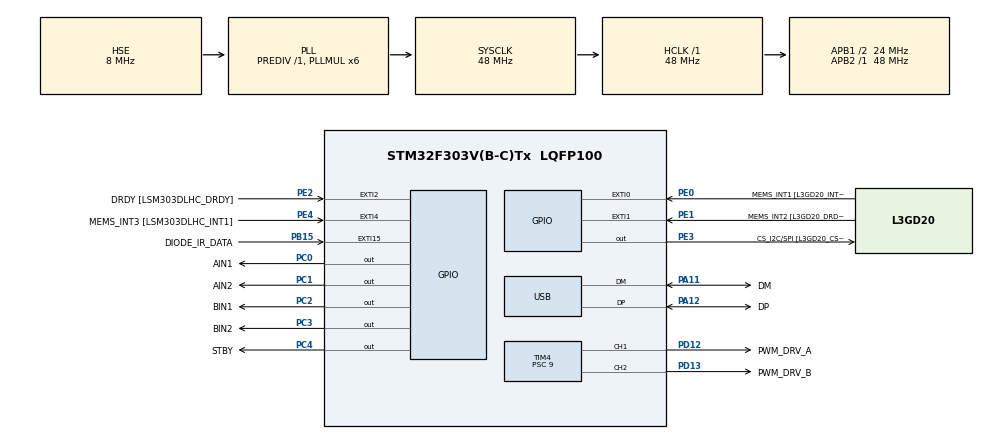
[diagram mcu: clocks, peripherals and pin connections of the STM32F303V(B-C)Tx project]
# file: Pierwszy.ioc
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Mcu.Family=STM32F3
Mcu.Name=STM32F303V(B-C)Tx
Mcu.Package=LQFP100
NVIC.EXTI15_10_IRQn=true\:0\:0\:false\:false\:true\:true\:true
NVIC.PriorityGroup=NVIC_PRIORITYGROUP_0
NVIC.TIM6_DAC_IRQn=true\:0\:0\:false\:false\:true\:true\:true
PA11.GPIO_Label=DM
PA11.Mode=Device
PA11.Signal=USB_DM
PA12.GPIO_Label=DP
PA12.Mode=Device
PA12.Signal=USB_DP
PA13.GPIO_Label=SWDIO
PA13.Mode=Serial_Wire
PA13.Signal=SYS_JTMS-SWDIO
PA14.GPIO_Label=SWCLK
PA14.Mode=Serial_Wire
PA14.Signal=SYS_JTCK-SWCLK
PB15.GPIO_Label=DIODE_IR_DATA
PB15.GPIO_ModeDefaultEXTI=GPIO_MODE_IT_RISING
PB15.Signal=GPXTI15
PC0.GPIO_Label=AIN1
PC0.Signal=GPIO_Output
PC1.GPIO_Label=AIN2
PC1.Signal=GPIO_Output
PC2.GPIO_Label=BIN1
PC2.Signal=GPIO_Output
PC3.GPIO_Label=BIN2
PC3.Signal=GPIO_Output
PC4.GPIO_Label=STBY
PC4.Signal=GPIO_Output
PD12.GPIO_Label=PWM_DRV_A
PD12.Signal=S_TIM4_CH1
PD13.GPIO_Label=PWM_DRV_B
PD13.Signal=S_TIM4_CH2
PE0.GPIO_Label=MEMS_INT1 [L3GD20_INT1]
PE0.GPIO_ModeDefaultEXTI=GPIO_MODE_EVT_RISING
PE0.Signal=GPXTI0
PE1.GPIO_Label=MEMS_INT2 [L3GD20_DRDY/INT2]
PE1.GPIO_ModeDefaultEXTI=GPIO_MODE_EVT_RISING
PE1.Signal=GPXTI1
PE2.GPIO_Label=DRDY [LSM303DLHC_DRDY]
PE2.GPIO_ModeDefaultEXTI=GPIO_MODE_EVT_RISING
PE2.Signal=GPXTI2
PE3.GPIO_Label=CS_I2C/SPI [L3GD20_CS_I2C/SPI]
PE3.Signal=GPIO_Output
PE4.GPIO_Label=MEMS_INT3 [LSM303DLHC_INT1]
PE4.GPIO_ModeDefaultEXTI=GPIO_MODE_EVT_RISING
PE4.Signal=GPXTI4
PF0-OSC_IN.GPIO_Label=OSC_IN
PF0-OSC_IN.Mode=HSE-External-Clock-Source
PF0-OSC_IN.Signal=RCC_OSC_IN
ProjectManager.HeapSize=0x200
ProjectManager.StackSize=0x400
ProjectManager.TargetToolchain=MDK-ARM V5.27
RCC.AHBFreq_Value=48000000
RCC.APB1CLKDivider=RCC_HCLK_DIV2
RCC.APB1Freq_Value=24000000
RCC.APB1TimFreq_Value=48000000
RCC.APB2Freq_Value=48000000
RCC.APB2TimFreq_Value=48000000
RCC.CortexFreq_Value=48000000
RCC.HCLKFreq_Value=48000000
RCC.HSE_VALUE=8000000
RCC.HSI_VALUE=8000000
RCC.LSE_VALUE=32768
RCC.PLLMUL=RCC_PLL_MUL6
RCC.SYSCLKFreq_VALUE=48000000
RCC.SYSCLKSourceVirtual=RCC_SYSCLKSOURCE_PLLCLK
RCC.USBFreq_Value=48000000
SH.S_TIM4_CH1.0=TIM4_CH1,PWM Generation1 CH1
SH.S_TIM4_CH2.0=TIM4_CH2,PWM Generation2 CH2
TIM4.Channel-PWM\ Generation1\ CH1=TIM_CHANNEL_1
TIM4.Channel-PWM\ Generation2\ CH2=TIM_CHANNEL_2
TIM4.ClockDivision=TIM_CLOCKDIVISION_DIV1
TIM4.OCFastMode_PWM-PWM\ Generation1\ CH1=TIM_OCFAST_ENABLE
TIM4.OCFastMode_PWM-PWM\ Generation2\ CH2=TIM_OCFAST_ENABLE
TIM4.Period=47999
TIM4.Prescaler=9
TIM4.Pulse-PWM\ Generation1\ CH1=24000
TIM4.Pulse-PWM\ Generation2\ CH2=36000
TIM6.AutoReloadPreload=TIM_AUTORELOAD_PRELOAD_DISABLE
TIM6.Period=42671
TIM6.Prescaler=1
VP_TIM4_VS_ClockSourceINT.Mode=Internal
VP_TIM6_VS_ClockSourceINT.Mode=Enable_Timer
board=STM32F3DISCOVERY

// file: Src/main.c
/* USER CODE BEGIN Header */
/**
  ******************************************************************************
  * @file           : main.c
  * @brief          : Main program body
   ******************************************************************************
  * @attention
  *
  * <h2><center>&copy; Copyright (c) 2020 STMicroelectronics.
  * All rights reserved.</center></h2>
  *
  * This software component is licensed by ST under BSD 3-Clause license,
  * the "License"; You may not use this file except in compliance with the
  * License. You may obtain a copy of the License at:
  *                        opensource.org/licenses/BSD-3-Clause
  *
  ******************************************************************************
  */
/* USER CODE END Header */
#include "main.h"

/* USER CODE BEGIN PM */
void setForward() {
	GPIOC->ODR = (GPIOC->ODR & 0xFFF0);
	GPIOC->ODR = (GPIOC->ODR & 0xFFF0) | 1 << 1 | 1 << 3;
}

void setBackward() {
	GPIOC->ODR = (GPIOC->ODR & 0xFFF0);
	GPIOC->ODR = (GPIOC->ODR & 0xFFF0) | 1 | 1 << 2;
}

void setTurnLeft() {
	GPIOC->ODR = (GPIOC->ODR & 0xFFF0);
	GPIOC->ODR = (GPIOC->ODR & 0xFFF0) | 1 << 1 | 1 << 2;
}

void setTurnRight() {
	GPIOC->ODR = (GPIOC->ODR & 0xFFF0);
	GPIOC->ODR = (GPIOC->ODR & 0xFFF0) | 1 | 1 << 3;
}

#define CALIBRATION_LEFT 1
#define CALIBRATION_RIGHT 0.88
#define MAX_SPEED 47998

void setSpeed(uint8_t speed) {
	uint16_t mapSpeed = speed * 47998 / 255;
	TIM4->CCR1 = mapSpeed * CALIBRATION_RIGHT;
	TIM4->CCR2 = mapSpeed * CALIBRATION_LEFT;
}
/* USER CODE END PM */

TIM_HandleTypeDef htim4;
TIM_HandleTypeDef htim6;

PCD_HandleTypeDef hpcd_USB_FS;

void SystemClock_Config(void);
static void MX_GPIO_Init(void);
static void MX_USB_PCD_Init(void);
static void MX_TIM6_Init(void);
static void MX_TIM4_Init(void);

int main(void)
{

  /* MCU Configuration--------------------------------------------------------*/

  /* Reset of all peripherals, Initializes the Flash interface and the Systick. */
  HAL_Init();

  /* Configure the system clock */
  SystemClock_Config();

  /* Initialize all configured peripherals */
  MX_GPIO_Init();
  MX_USB_PCD_Init();
  MX_TIM6_Init();
  MX_TIM4_Init();
  /* USER CODE BEGIN 2 */
	HAL_TIM_PWM_Start(&htim4, TIM_CHANNEL_1);
	HAL_TIM_PWM_Start(&htim4, TIM_CHANNEL_2);

	HAL_GPIO_WritePin(STBY_GPIO_Port, STBY_Pin, GPIO_PIN_RESET);

	HAL_GPIO_WritePin(AIN1_GPIO_Port, AIN1_Pin, GPIO_PIN_RESET);
	HAL_GPIO_WritePin(AIN2_GPIO_Port, AIN2_Pin, GPIO_PIN_SET);

	HAL_GPIO_WritePin(BIN1_GPIO_Port, BIN1_Pin, GPIO_PIN_RESET);
	HAL_GPIO_WritePin(BIN2_GPIO_Port, BIN2_Pin, GPIO_PIN_SET);

	setSpeed(128);

  /* USER CODE END 2 */

  /* Infinite loop */
  while (1)
  {

  }
}

void SystemClock_Config(void)
{
  RCC_OscInitTypeDef RCC_OscInitStruct = {0};
  RCC_ClkInitTypeDef RCC_ClkInitStruct = {0};
  RCC_PeriphCLKInitTypeDef PeriphClkInit = {0};

  /** Initializes the RCC Oscillators according to the specified parameters
  * in the RCC_OscInitTypeDef structure.
  */
  RCC_OscInitStruct.OscillatorType = RCC_OSCILLATORTYPE_HSE;
  RCC_OscInitStruct.HSEState = RCC_HSE_BYPASS;
  RCC_OscInitStruct.HSEPredivValue = RCC_HSE_PREDIV_DIV1;
  RCC_OscInitStruct.HSIState = RCC_HSI_ON;
  RCC_OscInitStruct.PLL.PLLState = RCC_PLL_ON;
  RCC_OscInitStruct.PLL.PLLSource = RCC_PLLSOURCE_HSE;
  RCC_OscInitStruct.PLL.PLLMUL = RCC_PLL_MUL6;
  if (HAL_RCC_OscConfig(&RCC_OscInitStruct) != HAL_OK)
  {
    Error_Handler();
  }
  /** Initializes the CPU, AHB and APB buses clocks
  */
  RCC_ClkInitStruct.ClockType = RCC_CLOCKTYPE_HCLK|RCC_CLOCKTYPE_SYSCLK
                              |RCC_CLOCKTYPE_PCLK1|RCC_CLOCKTYPE_PCLK2;
  RCC_ClkInitStruct.SYSCLKSource = RCC_SYSCLKSOURCE_PLLCLK;
  RCC_ClkInitStruct.AHBCLKDivider = RCC_SYSCLK_DIV1;
  RCC_ClkInitStruct.APB1CLKDivider = RCC_HCLK_DIV2;
  RCC_ClkInitStruct.APB2CLKDivider = RCC_HCLK_DIV1;

  if (HAL_RCC_ClockConfig(&RCC_ClkInitStruct, FLASH_LATENCY_1) != HAL_OK)
  {
    Error_Handler();
  }
  PeriphClkInit.PeriphClockSelection = RCC_PERIPHCLK_USB;
  PeriphClkInit.USBClockSelection = RCC_USBCLKSOURCE_PLL;
  if (HAL_RCCEx_PeriphCLKConfig(&PeriphClkInit) != HAL_OK)
  {
    Error_Handler();
  }
}

static void MX_TIM4_Init(void)
{

  TIM_ClockConfigTypeDef sClockSourceConfig = {0};
  TIM_MasterConfigTypeDef sMasterConfig = {0};
  TIM_OC_InitTypeDef sConfigOC = {0};

  htim4.Instance = TIM4;
  htim4.Init.Prescaler = 9;
  htim4.Init.CounterMode = TIM_COUNTERMODE_UP;
  htim4.Init.Period = 47999;
  htim4.Init.ClockDivision = TIM_CLOCKDIVISION_DIV1;
  htim4.Init.AutoReloadPreload = TIM_AUTORELOAD_PRELOAD_DISABLE;
  if (HAL_TIM_Base_Init(&htim4) != HAL_OK)
  {
    Error_Handler();
  }
  sClockSourceConfig.ClockSource = TIM_CLOCKSOURCE_INTERNAL;
  if (HAL_TIM_ConfigClockSource(&htim4, &sClockSourceConfig) != HAL_OK)
  {
    Error_Handler();
  }
  if (HAL_TIM_PWM_Init(&htim4) != HAL_OK)
  {
    Error_Handler();
  }
  sMasterConfig.MasterOutputTrigger = TIM_TRGO_RESET;
  sMasterConfig.MasterSlaveMode = TIM_MASTERSLAVEMODE_DISABLE;
  if (HAL_TIMEx_MasterConfigSynchronization(&htim4, &sMasterConfig) != HAL_OK)
  {
    Error_Handler();
  }
  sConfigOC.OCMode = TIM_OCMODE_PWM1;
  sConfigOC.Pulse = 24000;
  sConfigOC.OCPolarity = TIM_OCPOLARITY_HIGH;
  sConfigOC.OCFastMode = TIM_OCFAST_ENABLE;
  if (HAL_TIM_PWM_ConfigChannel(&htim4, &sConfigOC, TIM_CHANNEL_1) != HAL_OK)
  {
    Error_Handler();
  }
  sConfigOC.Pulse = 36000;
  if (HAL_TIM_PWM_ConfigChannel(&htim4, &sConfigOC, TIM_CHANNEL_2) != HAL_OK)
  {
    Error_Handler();
  }
  HAL_TIM_MspPostInit(&htim4);

}

static void MX_TIM6_Init(void)
{

  TIM_MasterConfigTypeDef sMasterConfig = {0};

  htim6.Instance = TIM6;
  htim6.Init.Prescaler = 1;
  htim6.Init.CounterMode = TIM_COUNTERMODE_UP;
  htim6.Init.Period = 42671;
  htim6.Init.AutoReloadPreload = TIM_AUTORELOAD_PRELOAD_DISABLE;
  if (HAL_TIM_Base_Init(&htim6) != HAL_OK)
  {
    Error_Handler();
  }
  sMasterConfig.MasterOutputTrigger = TIM_TRGO_RESET;
  sMasterConfig.MasterSlaveMode = TIM_MASTERSLAVEMODE_DISABLE;
  if (HAL_TIMEx_MasterConfigSynchronization(&htim6, &sMasterConfig) != HAL_OK)
  {
    Error_Handler();
  }

}

static void MX_USB_PCD_Init(void)
{

  hpcd_USB_FS.Instance = USB;
  hpcd_USB_FS.Init.dev_endpoints = 8;
  hpcd_USB_FS.Init.speed = PCD_SPEED_FULL;
  hpcd_USB_FS.Init.phy_itface = PCD_PHY_EMBEDDED;
  hpcd_USB_FS.Init.low_power_enable = DISABLE;
  hpcd_USB_FS.Init.battery_charging_enable = DISABLE;
  if (HAL_PCD_Init(&hpcd_USB_FS) != HAL_OK)
  {
    Error_Handler();
  }

}

static void MX_GPIO_Init(void)
{
  GPIO_InitTypeDef GPIO_InitStruct = {0};

  /* GPIO Ports Clock Enable */
  __HAL_RCC_GPIOE_CLK_ENABLE();
  __HAL_RCC_GPIOF_CLK_ENABLE();
  __HAL_RCC_GPIOC_CLK_ENABLE();
  __HAL_RCC_GPIOB_CLK_ENABLE();
  __HAL_RCC_GPIOD_CLK_ENABLE();
  __HAL_RCC_GPIOA_CLK_ENABLE();

  /*Configure GPIO pin Output Level */
  HAL_GPIO_WritePin(CS_I2C_SPI_GPIO_Port, CS_I2C_SPI_Pin, GPIO_PIN_RESET);

  /*Configure GPIO pin Output Level */
  HAL_GPIO_WritePin(GPIOC, AIN1_Pin|AIN2_Pin|BIN1_Pin|BIN2_Pin
                          |STBY_Pin, GPIO_PIN_RESET);

  /*Configure GPIO pins : DRDY_Pin MEMS_INT3_Pin MEMS_INT1_Pin MEMS_INT2_Pin */
  GPIO_InitStruct.Pin = DRDY_Pin|MEMS_INT3_Pin|MEMS_INT1_Pin|MEMS_INT2_Pin;
  GPIO_InitStruct.Mode = GPIO_MODE_EVT_RISING;
  GPIO_InitStruct.Pull = GPIO_NOPULL;
  HAL_GPIO_Init(GPIOE, &GPIO_InitStruct);

  /*Configure GPIO pin : CS_I2C_SPI_Pin */
  GPIO_InitStruct.Pin = CS_I2C_SPI_Pin;
  GPIO_InitStruct.Mode = GPIO_MODE_OUTPUT_PP;
  GPIO_InitStruct.Pull = GPIO_NOPULL;
  GPIO_InitStruct.Speed = GPIO_SPEED_FREQ_LOW;
  HAL_GPIO_Init(CS_I2C_SPI_GPIO_Port, &GPIO_InitStruct);

  /*Configure GPIO pins : AIN1_Pin AIN2_Pin BIN1_Pin BIN2_Pin
                           STBY_Pin */
  GPIO_InitStruct.Pin = AIN1_Pin|AIN2_Pin|BIN1_Pin|BIN2_Pin
                          |STBY_Pin;
  GPIO_InitStruct.Mode = GPIO_MODE_OUTPUT_PP;
  GPIO_InitStruct.Pull = GPIO_NOPULL;
  GPIO_InitStruct.Speed = GPIO_SPEED_FREQ_LOW;
  HAL_GPIO_Init(GPIOC, &GPIO_InitStruct);

  /*Configure GPIO pin : DIODE_IR_DATA_Pin */
  GPIO_InitStruct.Pin = DIODE_IR_DATA_Pin;
  GPIO_InitStruct.Mode = GPIO_MODE_IT_RISING;
  GPIO_InitStruct.Pull = GPIO_NOPULL;
  HAL_GPIO_Init(DIODE_IR_DATA_GPIO_Port, &GPIO_InitStruct);

  /* EXTI interrupt init*/
  HAL_NVIC_SetPriority(EXTI15_10_IRQn, 0, 0);
  HAL_NVIC_EnableIRQ(EXTI15_10_IRQn);

}

void Error_Handler(void)
{
}

/************************ (C) COPYRIGHT STMicroelectronics *****END OF FILE****/
